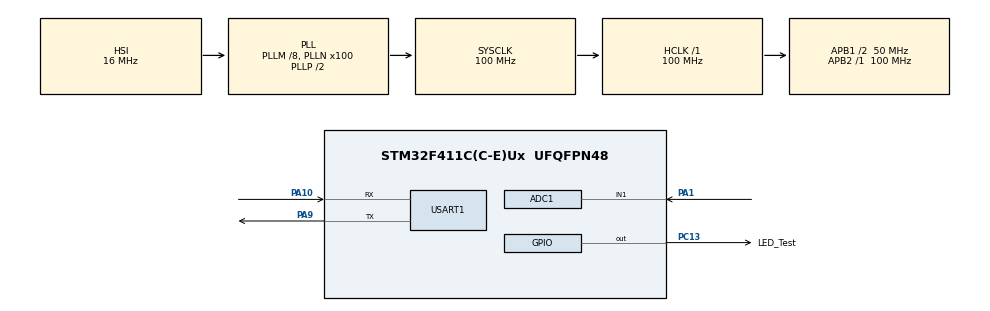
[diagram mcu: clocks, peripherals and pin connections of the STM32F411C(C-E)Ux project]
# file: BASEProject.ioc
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ADC1.Channel-0\#ChannelRegularConversion=ADC_CHANNEL_1
ADC1.ContinuousConvMode=ENABLE
ADC1.NbrOfConversionFlag=1
ADC1.Rank-0\#ChannelRegularConversion=1
ADC1.SamplingTime-0\#ChannelRegularConversion=ADC_SAMPLETIME_480CYCLES
ADC1.master=1
Dma.ADC1.0.Direction=DMA_PERIPH_TO_MEMORY
Dma.ADC1.0.FIFOMode=DMA_FIFOMODE_DISABLE
Dma.ADC1.0.Instance=DMA2_Stream0
Dma.ADC1.0.MemDataAlignment=DMA_MDATAALIGN_WORD
Dma.ADC1.0.MemInc=DMA_MINC_ENABLE
Dma.ADC1.0.Mode=DMA_NORMAL
Dma.ADC1.0.PeriphDataAlignment=DMA_PDATAALIGN_WORD
Dma.ADC1.0.PeriphInc=DMA_PINC_DISABLE
Dma.ADC1.0.Priority=DMA_PRIORITY_LOW
Dma.Request0=ADC1
FREERTOS.Tasks01=defaultTask,24,128,StartDefaultTask,Default,NULL,Dynamic,NULL,NULL
Mcu.Family=STM32F4
Mcu.Name=STM32F411C(C-E)Ux
Mcu.Package=UFQFPN48
NVIC.DMA2_Stream0_IRQn=true\:5\:0\:false\:false\:true\:true\:false\:true\:true
NVIC.PriorityGroup=NVIC_PRIORITYGROUP_4
NVIC.TIM1_UP_TIM10_IRQn=true\:15\:0\:false\:false\:true\:false\:false\:true\:true
NVIC.TimeBase=TIM1_UP_TIM10_IRQn
NVIC.TimeBaseIP=TIM1
PA1.Signal=ADCx_IN1
PA10.Mode=Asynchronous
PA10.Signal=USART1_RX
PA13.Mode=Serial_Wire
PA13.Signal=SYS_JTMS-SWDIO
PA14.Mode=Serial_Wire
PA14.Signal=SYS_JTCK-SWCLK
PA9.Mode=Asynchronous
PA9.Signal=USART1_TX
PC13-ANTI_TAMP.GPIO_Label=LED_Test
PC13-ANTI_TAMP.GPIO_ModeDefaultOutputPP=GPIO_MODE_OUTPUT_PP
PC13-ANTI_TAMP.GPIO_PuPd=GPIO_NOPULL
PC13-ANTI_TAMP.GPIO_Speed=GPIO_SPEED_FREQ_LOW
PC13-ANTI_TAMP.PinState=GPIO_PIN_SET
PC13-ANTI_TAMP.Signal=GPIO_Output
PC14-OSC32_IN.Mode=LSE-External-Oscillator
PC14-OSC32_IN.Signal=RCC_OSC32_IN
PC15-OSC32_OUT.Mode=LSE-External-Oscillator
PC15-OSC32_OUT.Signal=RCC_OSC32_OUT
PH0\ -\ OSC_IN.Mode=HSE-External-Oscillator
PH0\ -\ OSC_IN.Signal=RCC_OSC_IN
PH1\ -\ OSC_OUT.Mode=HSE-External-Oscillator
PH1\ -\ OSC_OUT.Signal=RCC_OSC_OUT
ProjectManager.HeapSize=0x200
ProjectManager.StackSize=0x400
ProjectManager.TargetToolchain=MDK-ARM V5.32
RCC.48MHZClocksFreq_Value=50000000
RCC.AHBFreq_Value=100000000
RCC.APB1CLKDivider=RCC_HCLK_DIV2
RCC.APB1Freq_Value=50000000
RCC.APB1TimFreq_Value=100000000
RCC.APB2Freq_Value=100000000
RCC.APB2TimFreq_Value=100000000
RCC.CortexFreq_Value=100000000
RCC.HCLKFreq_Value=100000000
RCC.HSE_VALUE=25000000
RCC.HSI_VALUE=16000000
RCC.PLLM=8
RCC.PLLN=100
RCC.SYSCLKFreq_VALUE=100000000
RCC.SYSCLKSource=RCC_SYSCLKSOURCE_PLLCLK
RCC.VCOOutputFreq_Value=200000000
SH.ADCx_IN1.0=ADC1_IN1,IN1
USART1.VirtualMode=VM_ASYNC
VP_FREERTOS_VS_CMSIS_V2.Mode=CMSIS_V2
VP_SYS_VS_tim1.Mode=TIM1
board=custom

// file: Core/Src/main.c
/* USER CODE BEGIN Header */
/**
  ******************************************************************************
  * @file           : main.c
  * @brief          : Main program body
  ******************************************************************************
  * @attention
  *
  * Copyright (c) 2026 STMicroelectronics.
  * All rights reserved.
  *
  * This software is licensed under terms that can be found in the LICENSE file
  * in the root directory of this software component.
  * If no LICENSE file comes with this software, it is provided AS-IS.
  *
  ******************************************************************************
  */
/* USER CODE END Header */
#include "main.h"
#include "cmsis_os.h"
#include "adc.h"
#include "dma.h"
#include "usart.h"
#include "gpio.h"

/* USER CODE BEGIN Includes */
#include "elog.h"
/* USER CODE END Includes */

void SystemClock_Config(void);
void MX_FREERTOS_Init(void);

int main(void)
{

  /* MCU Configuration--------------------------------------------------------*/

  /* Reset of all peripherals, Initializes the Flash interface and the Systick. */
  HAL_Init();

  /* Configure the system clock */
  SystemClock_Config();

  /* Initialize all configured peripherals */
  MX_GPIO_Init();
  MX_DMA_Init();
  MX_ADC1_Init();
  MX_USART1_UART_Init();
  /* USER CODE BEGIN 2 */

 	elog_init();
	/* set EasyLogger log format */
	elog_set_fmt(ELOG_LVL_ASSERT, ELOG_FMT_ALL);
	elog_set_fmt(ELOG_LVL_ERROR, ELOG_FMT_LVL | ELOG_FMT_TAG | ELOG_FMT_TIME);
	elog_set_fmt(ELOG_LVL_WARN, ELOG_FMT_LVL | ELOG_FMT_TAG | ELOG_FMT_TIME);
	elog_set_fmt(ELOG_LVL_INFO, ELOG_FMT_LVL | ELOG_FMT_TAG | ELOG_FMT_TIME);
	elog_set_fmt(ELOG_LVL_DEBUG, ELOG_FMT_ALL & ~(ELOG_FMT_FUNC | ELOG_FMT_T_INFO | ELOG_FMT_P_INFO));
	elog_set_fmt(ELOG_LVL_VERBOSE, ELOG_FMT_ALL & ~(ELOG_FMT_FUNC | ELOG_FMT_T_INFO | ELOG_FMT_P_INFO));
	/* start EasyLogger */
	elog_start();
  /* USER CODE END 2 */

  /* Init scheduler */
  osKernelInitialize();

  /* Call init function for freertos objects (in cmsis_os2.c) */
  MX_FREERTOS_Init();

  /* Start scheduler */
  osKernelStart();

  /* We should never get here as control is now taken by the scheduler */

  /* Infinite loop */
  while (1)
  {

  }
}

void SystemClock_Config(void)
{
  RCC_OscInitTypeDef RCC_OscInitStruct = {0};
  RCC_ClkInitTypeDef RCC_ClkInitStruct = {0};

  /** Configure the main internal regulator output voltage
  */
  __HAL_RCC_PWR_CLK_ENABLE();
  __HAL_PWR_VOLTAGESCALING_CONFIG(PWR_REGULATOR_VOLTAGE_SCALE1);

  /** Initializes the RCC Oscillators according to the specified parameters
  * in the RCC_OscInitTypeDef structure.
  */
  RCC_OscInitStruct.OscillatorType = RCC_OSCILLATORTYPE_HSI;
  RCC_OscInitStruct.HSIState = RCC_HSI_ON;
  RCC_OscInitStruct.HSICalibrationValue = RCC_HSICALIBRATION_DEFAULT;
  RCC_OscInitStruct.PLL.PLLState = RCC_PLL_ON;
  RCC_OscInitStruct.PLL.PLLSource = RCC_PLLSOURCE_HSI;
  RCC_OscInitStruct.PLL.PLLM = 8;
  RCC_OscInitStruct.PLL.PLLN = 100;
  RCC_OscInitStruct.PLL.PLLP = RCC_PLLP_DIV2;
  RCC_OscInitStruct.PLL.PLLQ = 4;
  if (HAL_RCC_OscConfig(&RCC_OscInitStruct) != HAL_OK)
  {
    Error_Handler();
  }

  /** Initializes the CPU, AHB and APB buses clocks
  */
  RCC_ClkInitStruct.ClockType = RCC_CLOCKTYPE_HCLK|RCC_CLOCKTYPE_SYSCLK
                              |RCC_CLOCKTYPE_PCLK1|RCC_CLOCKTYPE_PCLK2;
  RCC_ClkInitStruct.SYSCLKSource = RCC_SYSCLKSOURCE_PLLCLK;
  RCC_ClkInitStruct.AHBCLKDivider = RCC_SYSCLK_DIV1;
  RCC_ClkInitStruct.APB1CLKDivider = RCC_HCLK_DIV2;
  RCC_ClkInitStruct.APB2CLKDivider = RCC_HCLK_DIV1;

  if (HAL_RCC_ClockConfig(&RCC_ClkInitStruct, FLASH_LATENCY_3) != HAL_OK)
  {
    Error_Handler();
  }
}

void HAL_TIM_PeriodElapsedCallback(TIM_HandleTypeDef *htim)
{
  if (htim->Instance == TIM1) {
    HAL_IncTick();
  }
}

void Error_Handler(void)
{
  __disable_irq();
  while (1)
  {
  }
}

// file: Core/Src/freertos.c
/* USER CODE BEGIN Header */
/**
  ******************************************************************************
  * File Name          : freertos.c
  * Description        : Code for freertos applications
  ******************************************************************************
  * @attention
  *
  * Copyright (c) 2026 STMicroelectronics.
  * All rights reserved.
  *
  * This software is licensed under terms that can be found in the LICENSE file
  * in the root directory of this software component.
  * If no LICENSE file comes with this software, it is provided AS-IS.
  *
  ******************************************************************************
  */
/* USER CODE END Header */

#include "FreeRTOS.h"
#include "task.h"
#include "main.h"
#include "cmsis_os.h"

/* USER CODE BEGIN Includes */
#include "elog.h"
#include "adc.h"

#include <string.h>  // memset
// #include <stdlib.h>
#include "task.h"   // 任务通知函数  xTaskNotifyFromISR  MAX_DELAY
#include "queue.h"   // 队列
#include "semphr.h"  // 信号量
/* USER CODE END Includes */

/* USER CODE BEGIN PM */
void Output_logTask(void *arg);
/* USER CODE END PM */

/* USER CODE BEGIN Variables */
#define which_buf1 0
#define which_buf2 1
#define buffer_size 1
uint32_t produce_evt = 0;
uint32_t consume_evt = 0;

// ADC_HandleTypeDef hadc1;
// DMA_HandleTypeDef hdma_adc1;
#if 1
uint8_t g_buf_flag=which_buf1;
  uint32_t *p_g_buf1 = NULL;
  uint32_t *p_g_buf2 = NULL;

  QueueHandle_t xMailbox;
  SemaphoreHandle_t xSemaphore;//aka  QueueHandle_t
void myadc_dma_init(void){

// 注意：ADC通常�??12位或16位，建议�?? uint16_t 节省内存并匹�??
  p_g_buf1 = (uint32_t *)malloc(sizeof(uint32_t)*buffer_size);
  p_g_buf2 = (uint32_t *)malloc(sizeof(uint32_t)*buffer_size);
  if(p_g_buf1&&p_g_buf2){
    // 初始buf
//    *p_g_buf1 = 0xff;
//    *p_g_buf2 = 0xff;
    memset(p_g_buf1,0xff,sizeof(uint32_t)*buffer_size);
     memset(p_g_buf2,0xff,sizeof(uint32_t)*buffer_size);
  }
  /**创建信号量 */
   // xSemaphore=xSemaphoreCreateMutex();

   xSemaphore=xSemaphoreCreateBinary();
	xSemaphoreGive(xSemaphore);
  ///////-----------
  xMailbox=xQueueCreate(1, sizeof(uint8_t));//创建邮箱 大小uint8_t g_buf_flag
}
#endif

#if 0
/**新方法�?�过�?个数组切换buf
 * �?个数组两�?32位buf 半中断触�?--全中段也触发
*/
uint32_t buf[buffer_size*2];

#endif

/***
 *   * @brief  Starts the multi_buffer DMA Transfer.
 * HAL_DMAEx_MultiBufferStart
 */
/* USER CODE END Variables */
/* Definitions for defaultTask */
osThreadId_t defaultTaskHandle;
const osThreadAttr_t defaultTask_attributes = {
  .name = "defaultTask",
  .stack_size = 128 * 4,
  .priority = (osPriority_t) osPriorityNormal,
};

/* USER CODE BEGIN FunctionPrototypes */

osThreadId_t Output_logTaskHandle;
const osThreadAttr_t Output_logTask_attributes = {
  .name = "Output_logTask",
  .stack_size = 128 * 4,
  .priority = (osPriority_t) osPriorityBelowNormal,//osPriorityBelowNormal
};  //用邮箱的时�?�会出错--难道是用队列就要修改优先级？
////优先�??---

 /**dma 传输完成回调 */
void HAL_ADC_ConvCpltCallback(ADC_HandleTypeDef *hadc)
{
  log_i("HAL_ADC_ConvCpltCallback running---------------");
  /**adc 传输完成回调 */
  if(hadc->Instance == ADC1){
    //转存数据--
    uint8_t completed_flag=g_buf_flag;
    // 切换buf
    if(g_buf_flag == which_buf1)      g_buf_flag=which_buf2;
    else      g_buf_flag=which_buf1;
    //send notify to Output_logTask--consume---实际上应该发给produce--告诉发送完毕
    // xTaskNotifyFromISR( Output_logTaskHandle, completed_flag ,eSetValueWithOverwrite,0 );
    xTaskNotifyFromISR( defaultTaskHandle, completed_flag ,eSetValueWithOverwrite,0 );

    ///覆写 通知�??=uvalue
    /**
     *     vTaskNotifyGiveFromISR( Output_logTaskHandle, NULL );
     * 高级通知函数
     * BaseType_t xTaskNotifyFromISR( TaskHandle_t xTaskToNotify,
                               uint32_t ulValue,
                               eNotifyAction eAction,
                               BaseType_t *pxHigherPriorityTaskWoken );
     *ulValue	怎么使用ulValue，由eAction参数决定   eAction	见下�??   返回�??	pdPASS：成功，大部分调用都会成�??
     */
    /**
     * 用邮�??  读取不删�??  只能覆盖 */
    // xQueueOverwriteFromISR(xMailbox, &completed_flag, 0);

    // 发信号量完成  解锁------不在这里解锁
    // xSemaphoreGiveFromISR(xSemaphore,NULL);

  }
}

/* USER CODE END FunctionPrototypes */

void StartDefaultTask(void *argument);

void MX_FREERTOS_Init(void); /* (MISRA C 2004 rule 8.1) */

void MX_FREERTOS_Init(void) {

  /* Create the thread(s) */
  /* creation of defaultTask */
  defaultTaskHandle = osThreadNew(StartDefaultTask, NULL, &defaultTask_attributes);

  /* USER CODE BEGIN RTOS_THREADS */

  /**应当有三个线程，
   * �??个默认线程，初始�??
   * �??个切换buffer线程�??
   * �??个处理数�??--convert voltage 线程
   * */
  Output_logTaskHandle = osThreadNew(Output_logTask, NULL, &Output_logTask_attributes);
  // ConvertVoltageTaskHandle = osThreadNew(ConvertVoltageTask, NULL, &ConvertVoltageTask_attributes);

  /* add threads, ... */
  /* USER CODE END RTOS_THREADS */

}

void StartDefaultTask(void *argument)
{//切换buffer线程--produce
  /* USER CODE BEGIN StartDefaultTask */
  log_i("StartDefaultTask runninggggggggggggggg");
  myadc_dma_init();

  /** adc cfile�?
   *   hadc1.Init.ContinuousConvMode = ENABLE;//连续转换模式，开启后，转换完成后会自动启动下�?个转�?
   * HAL_ADC_Start_DMA(&hadc1, (uint32_t*)p_g_buf1, buffer_size);
   */

  /* Infinite loop */
  for(;;)
  {

    log_i("buf111111111111"); // 启动ADC+DMA双缓冲传  ?
     HAL_ADC_Start_DMA(&hadc1, (uint32_t*)p_g_buf1, buffer_size);
    /***等待通知---中断中发给produce 任务的handler
     * --通知DMA传输完成，
     * 如果consumedd--bufer为空--切换buff */
    if(pdPASS==xTaskNotifyWait(0,0,&produce_evt,portMAX_DELAY)){
      xTaskNotifyGive(Output_logTaskHandle);//给哪个任务发通知
      // xTaskNotifyGive(Output_logTaskHandle);
      //notice consumer produced done
    }
    //wait 等消费者消耗结束
    if(consume_evt){
    // wait for consume---消耗结束
        xSemaphoreTake(xSemaphore, portMAX_DELAY);
        xSemaphoreGive(xSemaphore);
    }

    ////循环切换buffer
    log_i("buf222222222222"); // 启动ADC+DMA双缓冲传  ?
     HAL_ADC_Start_DMA(&hadc1, (uint32_t*)p_g_buf2, buffer_size);

//    HAL_GPIO_TogglePin(LED_Test_GPIO_Port,LED_Test_Pin);
  //  osDelay(500);
    osDelay(100);

  }
  /* USER CODE END StartDefaultTask */
}

/* USER CODE BEGIN Application */
void Output_logTask(void *arg){
// 处理数-convert voltage 线程 ---output log-- consume
  log_i("Output_logTask running---------------");
  BaseType_t Notifyret = pdPASS;
  while(1){

    // 发信号量完成  加锁
  // if(xSemaphoreTake(xSemaphore, portMAX_DELAY)==pdTRUE){
    // Notifyret = xQueuePeek( xMailbox, &recvValue,  portMAX_DELAY);//portMAX_DELAY
  Notifyret = xTaskNotifyWait(0,0,&consume_evt,portMAX_DELAY);//produce send notify
      if(Notifyret==pdPASS){

        xSemaphoreTake(xSemaphore, portMAX_DELAY);
        //cosume buffer
        for(int i=0;i<2;i++){
          if(i==0)        log_d("buf%d=%d",i+1,p_g_buf1[0]);
          else            log_d("buf%d=%d",i+1,p_g_buf2[0]);
        }
        ulTaskNotifyValueClear(NULL, 0xffffffff);//清除通知
        // 发信号量完成  解锁
        xSemaphoreGive(xSemaphore);
      }

      }

}

/* USER CODE END Application */
